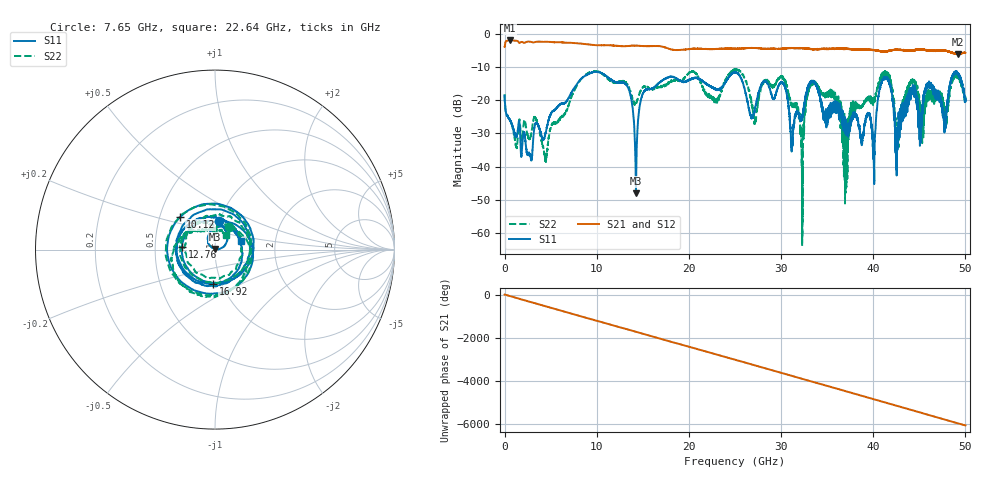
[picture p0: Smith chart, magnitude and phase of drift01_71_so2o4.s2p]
!Created with skrf (http://scikit-rf.org).
# Hz S RI R 50.0
!freq ReS11 ImS11 ReS21 ImS21 ReS12 ImS12 ReS22 ImS22
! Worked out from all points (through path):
!   10001 points, 300 kHz to 50 GHz, reference 50 ohm
!   highest |S21| = -2.00 dB at 575.3 MHz (marker M1); lowest = -6.0 dB at 49.21 GHz (marker M2)
!   group delay of S21, straight-line fit = 336 ps
!   lowest |S11| = -48.0 dB at 14.25 GHz (marker M3), VSWR 1.01, Z = 50.1 + j0.394 ohm
!   |S11| at or under -10 dB: start of sweep to end of sweep
!   |S22| runs from -63.9 to -10.6 dB; largest |S21 - S12| = 0.019
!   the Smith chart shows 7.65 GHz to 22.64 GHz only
!   S11 on the Smith chart (normalised r, x): 7.65 GHz: 0.99, +0.32; 10.12 GHz: 0.64, +0.25; 12.76 GHz: 0.69, +0.02; 16.92 GHz: 0.91, -0.36; 22.64 GHz: 1.34, +0.14
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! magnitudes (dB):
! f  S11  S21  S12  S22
! 300 kHz  -18.6  -4.0  -4.1  -18.2
! 575.3 MHz  -26.0  -2.0  -2.0  -25.8
! 4.445 GHz  -29.8  -2.4  -2.4  -38.0
! 7.65 GHz  -15.9  -2.8  -2.8  -16.6
! 8.335 GHz  -13.5  -2.9  -2.9  -13.5
! 10.12 GHz  -11.5  -3.4  -3.4  -11.4
! 12.76 GHz  -14.6  -3.7  -3.7  -14.3
! 14.25 GHz  -48.0  -3.6  -3.5  -21.1
! 16.67 GHz  -15.0  -3.7  -3.7  -15.9
! 16.92 GHz  -14.4  -3.7  -3.7  -15.9
! 22.64 GHz  -16.2  -4.6  -4.6  -19.6
! 25 GHz  -11.5  -4.5  -4.5  -10.9
! 27.18 GHz  -22.3  -4.3  -4.3  -26.0
! 30.23 GHz  -14.9  -4.5  -4.5  -13.3
! 32.28 GHz  -25.2  -4.3  -4.3  -47.8
! 33.34 GHz  -14.2  -4.6  -4.6  -14.6
! 36.99 GHz  -30.0  -4.6  -4.4  -32.7
! 40.05 GHz  -37.0  -4.9  -4.9  -19.6
! 41.67 GHz  -13.8  -5.1  -5.1  -13.1
! 42.61 GHz  -29.7  -4.8  -4.8  -31.2
! 49.21 GHz  -12.3  -6.0  -6.0  -12.9
! 50 GHz  -19.8  -5.7  -5.7  -19.4
